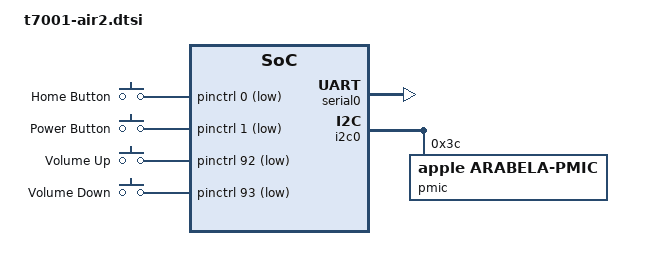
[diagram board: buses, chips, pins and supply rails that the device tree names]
// SPDX-License-Identifier: GPL-2.0+ OR MIT
/*
 * Apple iPad Air 2 common device tree
 * Copyright (c) 2022, Konrad Dybcio <konradybcio@kernel.org>
 */

#include "t7001.dtsi"
#include <dt-bindings/input/input.h>

/ {
	chassis-type = "tablet";

	chosen {
		#address-cells = <2>;
		#size-cells = <2>;
		ranges;

		stdout-path = "serial0";

		framebuffer0: framebuffer@0 {
			compatible = "apple,simple-framebuffer", "simple-framebuffer";
			reg = <0 0 0 0>; /* To be filled by loader */
			power-domains = <&ps_disp0 &ps_dp>;
			/* Format properties will be added by loader */
			status = "disabled";
		};
	};

	gpio-keys {
		compatible = "gpio-keys";

		button-home {
			label = "Home Button";
			gpios = <&pinctrl 0 GPIO_ACTIVE_LOW>;
			linux,code = <KEY_HOMEPAGE>;
			wakeup-source;
		};

		button-power {
			label = "Power Button";
			gpios = <&pinctrl 1 GPIO_ACTIVE_LOW>;
			linux,code = <KEY_POWER>;
			wakeup-source;
		};

		button-volup {
			label = "Volume Up";
			gpios = <&pinctrl 92 GPIO_ACTIVE_LOW>;
			linux,code = <KEY_VOLUMEUP>;
		};

		button-voldown {
			label = "Volume Down";
			gpios = <&pinctrl 93 GPIO_ACTIVE_LOW>;
			linux,code = <KEY_VOLUMEDOWN>;
		};
	};

	memory@800000000 {
		device_type = "memory";
		reg = <0x8 0 0 0>; /* To be filled by loader */
	};

	reserved-memory {
		#address-cells = <2>;
		#size-cells = <2>;
		ranges;

		/* To be filled by loader */
	};
};

&serial0 {
	status = "okay";
};

&i2c0 {
	status = "okay";

	pmic@3c {
		compatible = "apple,arabela-pmic", "apple,i2c-pmic";
		reg = <0x3c>;
		#address-cells = <1>;
		#size-cells = <1>;

		rtc@5c0 {
			compatible = "apple,arabela-pmic-rtc", "apple,amber-pmic-rtc";
			reg = <0x5c0 0x10>;
			nvmem-cells = <&rtc_offset>;
			nvmem-cell-names = "rtc_offset";
		};

		backlight@600 {
			compatible = "apple,arabela-pmic-bl", "apple,anya-pmic-bl";
			reg = <0x600 0x2>;
		};

		nvmem@4000 {
			compatible = "apple,pmic-nvmem";
			reg = <0x4000 0x28>;

			nvmem-layout {
				compatible = "fixed-layout";
				#address-cells = <1>;
				#size-cells = <1>;

				rtc_offset: rtc-offset@4 {
					reg = <0x4 0x4>;
				};
			};
		};
	};
};
